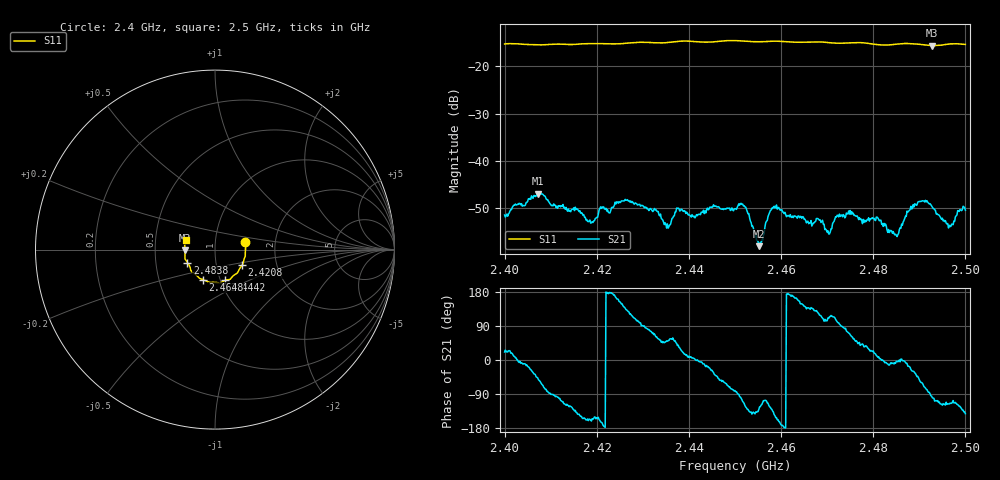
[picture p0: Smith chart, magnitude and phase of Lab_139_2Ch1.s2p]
# Hz S RI R 50
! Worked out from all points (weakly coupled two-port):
!   601 points, 2.4 GHz to 2.5 GHz, reference 50 ohm
!   highest |S21| = -46.89 dB at 2.4072 GHz (marker M1); lowest = -58.0 dB at 2.4552 GHz (marker M2)
!   lowest |S11| = -15.6 dB at 2.4928 GHz (marker M3), VSWR 1.40, Z = 35.8 - j0.356 ohm
!   |S11| at or under -10 dB: start of sweep to end of sweep
!   S12 and S22 are empty: the file has one direction only
!   S11 on the Smith chart (normalised r, x): 2.4 GHz: 1.40, +0.12; 2.4208 GHz: 1.33, -0.24; 2.4442 GHz: 1.05, -0.37; 2.4648 GHz: 0.83, -0.29; 2.4838 GHz: 0.73, -0.11; 2.5 GHz: 0.72, +0.08
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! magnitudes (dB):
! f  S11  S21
! 2.4 GHz  -15.3  -51.4
! 2.4072 GHz  -15.4  -46.9
! 2.4167 GHz  -15.2  -50.9
! 2.4208 GHz  -15.2  -49.7
! 2.4333 GHz  -15.0  -50.6
! 2.4355 GHz  -14.9  -54.2
! 2.4375 GHz  -14.7  -50.0
! 2.4442 GHz  -14.9  -50.3
! 2.45 GHz  -14.5  -50.1
! 2.4522 GHz  -14.7  -49.7
! 2.4552 GHz  -14.8  -58.0
! 2.4585 GHz  -14.7  -49.6
! 2.4648 GHz  -14.9  -51.8
! 2.4667 GHz  -14.8  -53.7
! 2.4705 GHz  -15.0  -55.4
! 2.4752 GHz  -15.0  -51.2
! 2.4833 GHz  -15.5  -54.5
! 2.4838 GHz  -15.4  -54.7
! 2.4902 GHz  -15.3  -48.5
! 2.4928 GHz  -15.6  -49.8
! 2.4968 GHz  -15.2  -53.8
! 2.5 GHz  -15.4  -50.4
